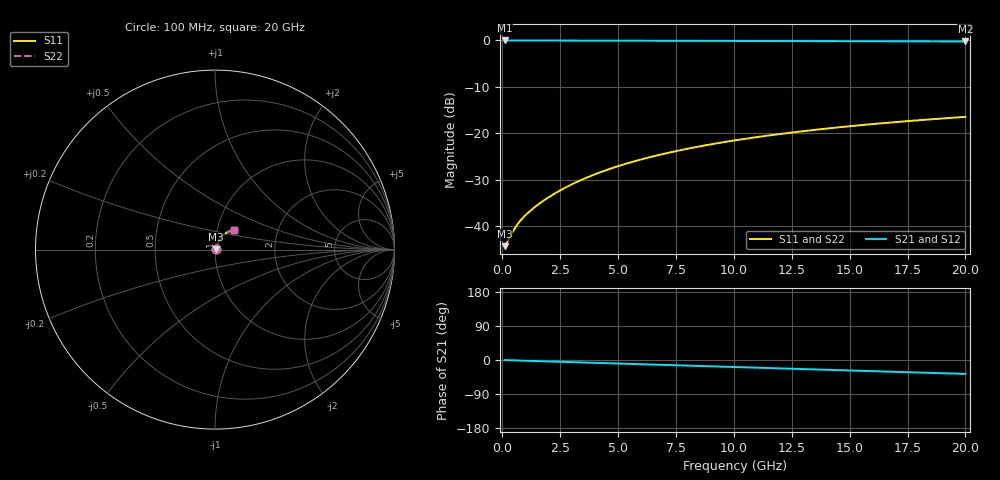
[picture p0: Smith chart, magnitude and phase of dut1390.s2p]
! Touchstone file exported from HFSS 2026.1.0
!  File:  C:/ffzhzh/LocalFiles/Ansys_Project_Files/temp_train_TMRDL_1390_1783166187_18472.aedt
!  Generated:  07:57:35 PM Jul  4, 2026
!  Design:  TMRDL
!  Project:  temp_train_TMRDL_1390_1783166187_18472
! Variables:
!  h_bsmrdl = 2um
!  h_ox = 20um
!  h_rdl = 5um
!  h_sub = 80um
!  h_tmrdl = 2.35um
!  h_tsv = 80um
!  h_via = 3um
!  l_bsmrdl = 300um
!  l_sub = 1037.56um
!  l_tmrdl = 637.56um
!  m_sub = 200um
!  pitch = 22.24um
!  r_tsv = 6um
!  s_tmrdl = 10um
!  w_bsmrdl = 18um
!  w_sub = 500um
!  w_tmrdl = 16.53um
!  x_tsv_center1 = 645.825um
!  x_tsv_center2 = 963.825um
!  x_tsv_center3 = 1617.915um
!  x_tsv_center4 = 1935.915um
!  x_tsv_center5 = 2590.005um
!  x_tsv_center6 = 2908.005um
# GHz S MA R 50.000000
! Terminal data exported
! Port[1] = TM_RDL1_1_T1
! Port[2] = TM_RDL1_1_T2
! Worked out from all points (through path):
!   200 points, 100 MHz to 20 GHz, reference 50 ohm
!   highest |S21| = -0.05 dB at 100 MHz (marker M1); lowest = -0.3 dB at 20 GHz (marker M2)
!   group delay of S21, straight-line fit = 5.09 ps
!   lowest |S11| = -44.2 dB at 100 MHz (marker M3), VSWR 1.01, Z = 50.6 + j0.132 ohm
!   |S11| at or under -10 dB: start of sweep to end of sweep
!   |S22| runs from -44.2 to -16.5 dB; largest |S21 - S12| = 2e-15
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0.1  0.006145 12.3  0.994 -0.2  0.994 -0.2  0.006145 12.3
! Gamma 0 0 0 0
! Port Impedance 50 0 50 0
0.2  0.006703 22.5  0.9938 -0.4  0.9938 -0.4  0.006703 22.5
0.4  0.008335 35.4  0.9933 -0.8  0.9933 -0.8  0.008335 35.4
0.6  0.01007 42.1  0.9927 -1.2  0.9927 -1.2  0.01007 42.1
0.7  0.01089 44.4  0.9924 -1.4  0.9924 -1.4  0.01089 44.4
0.9  0.01245 48.0  0.9919 -1.8  0.9919 -1.8  0.01245 48.0
1.2  0.01467 52.2  0.9914 -2.3  0.9914 -2.3  0.01467 52.2
1.7  0.01833 57.3  0.9909 -3.3  0.9909 -3.3  0.01833 57.3
2.2  0.02209 60.9  0.9905 -4.2  0.9905 -4.2  0.02209 60.9
2.8  0.02675 63.7  0.9901 -5.3  0.9901 -5.3  0.02675 63.7
3.5  0.03231 65.6  0.9897 -6.6  0.9897 -6.6  0.03231 65.6
4.2  0.03795 66.6  0.9892 -7.9  0.9892 -7.9  0.03795 66.6
5  0.04442 66.9  0.9886 -9.4  0.9886 -9.4  0.04442 66.9
5.9  0.05169 66.7  0.9878 -11.1  0.9878 -11.1  0.05169 66.7
6.8  0.05889 66.1  0.9869 -12.8  0.9869 -12.8  0.05889 66.1
8.4  0.07148 64.4  0.9851 -15.7  0.9851 -15.7  0.07148 64.4
10.1  0.08446 62.1  0.9831 -18.8  0.9831 -18.8  0.08446 62.1
11.7  0.09627 59.7  0.981 -21.8  0.981 -21.8  0.09626 59.7
13.4  0.1083 57.0  0.9786 -24.9  0.9786 -24.9  0.1083 57.0
15  0.1192 54.4  0.9764 -27.8  0.9764 -27.8  0.1192 54.4
16.7  0.1303 51.7  0.974 -30.8  0.974 -30.8  0.1303 51.6
20  0.1502 46.2  0.9693 -36.7  0.9693 -36.7  0.1502 46.2
